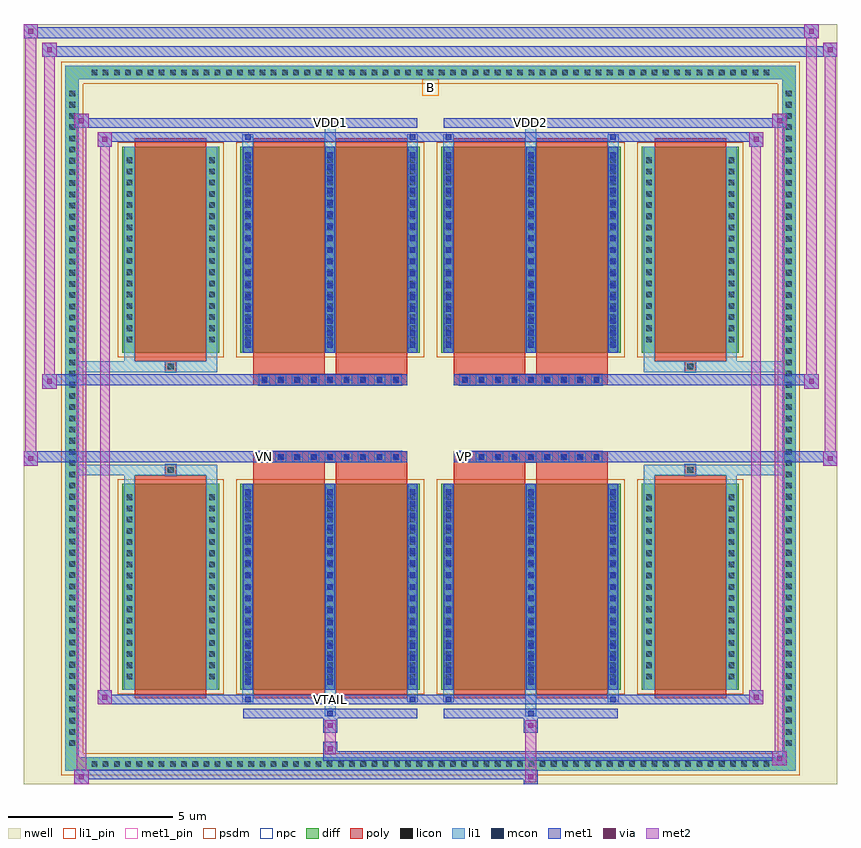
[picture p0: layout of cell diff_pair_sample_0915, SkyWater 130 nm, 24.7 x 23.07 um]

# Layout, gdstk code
import gdstk
lib = gdstk.Library(unit=1e-6, precision=5e-09)
def R(c, l, rs):  # rectangles x0, y0, x1, y1
    for r in rs: c.add(gdstk.rectangle(r[:2], r[2:], *l))
def A(c, l, x, y, w, h, nx, ny, dx, dy):  # array of equal rectangles
    R(c, l, [(x+i*dx, y+j*dy, x+i*dx+w, y+j*dy+h) for i in range(nx) for j in range(ny)])
def P(c, l, *ps):  # polygons
    for p in ps: c.add(gdstk.Polygon(p, *l))
nwell = (64, 20)
diff = (65, 20)
poly = (66, 20)
licon = (66, 44)
li1_pin = (67, 16)
li1 = (67, 20)
mcon = (67, 44)
met1_pin = (68, 16)
met1 = (68, 20)
via = (68, 44)
met2 = (69, 20)
psdm = (94, 20)
npc = (95, 20)

diff_pair_sample_0915 = lib.new_cell('diff_pair_sample_0915')
R(diff_pair_sample_0915, nwell, [(-12.35,-11.1,12.35,11.97), (-9.67,-9.29,-0.01,-0.805), (0.01,-9.29,9.67,-0.805), (-9.67,0.805,-0.01,9.29), (0.01,0.805,9.67,9.29)])
A(diff_pair_sample_0915, diff, -10.405, -10.7, 0.41, 0.41, 61, 2, 0.34, 20.99)
A(diff_pair_sample_0915, diff, -11.08, -10.065, 0.41, 0.41, 1, 59, 0, 0.34)
A(diff_pair_sample_0915, diff, 10.67, -10.065, 0.41, 0.41, 1, 59, 0, 0.34)
R(diff_pair_sample_0915, diff, [(-10.405,-10.7,10.405,-10.29), (-11.08,-10.065,-10.67,10.065), (10.67,-10.065,11.08,10.065), (-9.36,-8.245,-6.41,-1.985), (-5.77,-8.245,-0.32,-1.985), (0.32,-8.245,5.77,-1.985), (6.41,-8.245,9.36,-1.985), (-9.36,1.985,-6.41,8.245), (-5.77,1.985,-0.32,8.245), (0.32,1.985,5.77,8.245), (6.41,1.985,9.36,8.245), (-10.405,10.29,10.405,10.7)])
P(diff_pair_sample_0915, diff, [(11.08,10.7),(-11.08,10.7),(-11.08,-10.29),(-10.67,-10.29),(-10.67,10.29),(10.67,10.29),(10.67,-10.29),(-10.67,-10.29),(-11.08,-10.29),(-11.08,-10.7),(11.08,-10.7)])
A(diff_pair_sample_0915, poly, -5.21, -1.335, 0.33, 0.33, 9, 2, 0.5, 2.34)
A(diff_pair_sample_0915, poly, 0.88, -1.335, 0.33, 0.33, 9, 2, 0.5, 2.34)
R(diff_pair_sample_0915, poly, [(-8.97,-8.495,-6.8,-1.735), (-5.38,-8.495,-3.21,-1.735), (-2.88,-8.495,-0.71,-1.735), (0.71,-8.495,2.88,-1.735), (3.21,-8.495,5.38,-1.735), (6.8,-8.495,8.97,-1.735), (-8.05,-1.735,-7.72,-1.405), (-8.05,-1.735,-7.72,-1.405), (-5.38,-1.735,-3.21,-1.335), (-2.88,-1.735,-0.71,-1.335), (0.71,-1.735,2.88,-1.335), (3.21,-1.735,5.38,-1.335), (7.72,-1.735,8.05,-1.405), (7.72,-1.735,8.05,-1.405), (-5.38,-1.335,-0.71,-1.005), (0.71,-1.335,5.38,-1.005), (-5.38,1.005,-0.71,1.335), (0.71,1.005,5.38,1.335), (-5.38,1.335,-3.21,1.735), (-2.88,1.335,-0.71,1.735), (0.71,1.335,2.88,1.735), (3.21,1.335,5.38,1.735), (-8.05,1.405,-7.72,1.735), (-8.05,1.405,-7.72,1.735), (7.72,1.405,8.05,1.735), (7.72,1.405,8.05,1.735), (-8.97,1.735,-6.8,8.495), (-5.38,1.735,-3.21,8.495), (-2.88,1.735,-0.71,8.495), (0.71,1.735,2.88,8.495), (3.21,1.735,5.38,8.495), (6.8,1.735,8.97,8.495)])
A(diff_pair_sample_0915, licon, -10.285, -10.58, 0.17, 0.17, 61, 2, 0.34, 20.99)
A(diff_pair_sample_0915, licon, -10.96, -9.945, 0.17, 0.17, 1, 59, 0, 0.34)
A(diff_pair_sample_0915, licon, 10.79, -9.945, 0.17, 0.17, 1, 59, 0, 0.34)
A(diff_pair_sample_0915, licon, -9.22, -7.92, 0.17, 0.17, 1, 17, 0, 0.34)
A(diff_pair_sample_0915, licon, -6.72, -7.92, 0.17, 0.17, 1, 17, 0, 0.34)
A(diff_pair_sample_0915, licon, -5.63, -7.92, 0.17, 0.17, 3, 17, 2.5, 0.34)
A(diff_pair_sample_0915, licon, 0.46, -7.92, 0.17, 0.17, 3, 17, 2.5, 0.34)
A(diff_pair_sample_0915, licon, 6.55, -7.92, 0.17, 0.17, 1, 17, 0, 0.34)
A(diff_pair_sample_0915, licon, 9.05, -7.92, 0.17, 0.17, 1, 17, 0, 0.34)
A(diff_pair_sample_0915, licon, -5.13, -1.255, 0.17, 0.17, 9, 2, 0.5, 2.34)
A(diff_pair_sample_0915, licon, 0.96, -1.255, 0.17, 0.17, 9, 2, 0.5, 2.34)
A(diff_pair_sample_0915, licon, -9.22, 2.31, 0.17, 0.17, 1, 17, 0, 0.34)
A(diff_pair_sample_0915, licon, -6.72, 2.31, 0.17, 0.17, 1, 17, 0, 0.34)
A(diff_pair_sample_0915, licon, -5.63, 2.31, 0.17, 0.17, 3, 17, 2.5, 0.34)
A(diff_pair_sample_0915, licon, 0.46, 2.31, 0.17, 0.17, 3, 17, 2.5, 0.34)
A(diff_pair_sample_0915, licon, 6.55, 2.31, 0.17, 0.17, 1, 17, 0, 0.34)
A(diff_pair_sample_0915, licon, 9.05, 2.31, 0.17, 0.17, 1, 17, 0, 0.34)
R(diff_pair_sample_0915, licon, [(-7.97,-1.655,-7.8,-1.485), (7.8,-1.655,7.97,-1.485), (-7.97,1.485,-7.8,1.655), (7.8,1.485,7.97,1.655)])
R(diff_pair_sample_0915, li1_pin, [(-0.25,9.79,0.25,10.29)])
A(diff_pair_sample_0915, li1, -10.365, -10.66, 0.33, 0.33, 61, 2, 0.34, 20.99)
A(diff_pair_sample_0915, li1, -11.04, -10.025, 0.33, 0.33, 1, 59, 0, 0.34)
A(diff_pair_sample_0915, li1, 10.71, -10.025, 0.33, 0.33, 1, 59, 0, 0.34)
A(diff_pair_sample_0915, li1, -5.71, -8.245, 0.33, 6.26, 3, 2, 2.5, 10.23)
A(diff_pair_sample_0915, li1, 0.38, -8.245, 0.33, 6.26, 3, 2, 2.5, 10.23)
A(diff_pair_sample_0915, li1, -5.63, -8.08, 0.17, 0.17, 3, 17, 2.5, 0.36)
A(diff_pair_sample_0915, li1, -5.63, -8.08, 0.17, 5.93, 3, 2, 2.5, 10.23)
A(diff_pair_sample_0915, li1, 0.46, -8.08, 0.17, 0.17, 3, 17, 2.5, 0.36)
A(diff_pair_sample_0915, li1, 0.46, -8.08, 0.17, 5.93, 3, 2, 2.5, 10.23)
A(diff_pair_sample_0915, li1, -9.3, -8, 0.33, 0.33, 1, 17, 0, 0.34)
A(diff_pair_sample_0915, li1, -6.8, -8, 0.33, 0.33, 1, 17, 0, 0.34)
A(diff_pair_sample_0915, li1, -5.71, -8, 0.33, 0.33, 3, 17, 2.5, 0.34)
A(diff_pair_sample_0915, li1, 0.38, -8, 0.33, 0.33, 3, 17, 2.5, 0.34)
A(diff_pair_sample_0915, li1, 6.47, -8, 0.33, 0.33, 1, 17, 0, 0.34)
A(diff_pair_sample_0915, li1, 8.97, -8, 0.33, 0.33, 1, 17, 0, 0.34)
A(diff_pair_sample_0915, li1, -5.21, -1.335, 0.33, 0.33, 9, 2, 0.5, 2.34)
A(diff_pair_sample_0915, li1, 0.88, -1.335, 0.33, 0.33, 9, 2, 0.5, 2.34)
A(diff_pair_sample_0915, li1, -5.63, 2.15, 0.17, 0.17, 3, 17, 2.5, 0.36)
A(diff_pair_sample_0915, li1, 0.46, 2.15, 0.17, 0.17, 3, 17, 2.5, 0.36)
A(diff_pair_sample_0915, li1, -9.3, 2.23, 0.33, 0.33, 1, 17, 0, 0.34)
A(diff_pair_sample_0915, li1, -6.8, 2.23, 0.33, 0.33, 1, 17, 0, 0.34)
A(diff_pair_sample_0915, li1, -5.71, 2.23, 0.33, 0.33, 3, 17, 2.5, 0.34)
A(diff_pair_sample_0915, li1, 0.38, 2.23, 0.33, 0.33, 3, 17, 2.5, 0.34)
A(diff_pair_sample_0915, li1, 6.47, 2.23, 0.33, 0.33, 1, 17, 0, 0.34)
A(diff_pair_sample_0915, li1, 8.97, 2.23, 0.33, 0.33, 1, 17, 0, 0.34)
R(diff_pair_sample_0915, li1, [(-11.08,-10.7,-10.67,-10.29), (-11.08,-10.7,-10.67,-10.29), (-10.67,-10.7,10.67,-10.29), (10.67,-10.7,11.08,-10.29), (10.67,-10.7,11.08,-10.29), (-11.08,-10.29,-10.67,10.29), (10.67,-10.29,11.08,10.29), (-3.21,-9.05,-2.88,-8.245), (-3.13,-9.05,-2.96,-8.88), (2.88,-9.05,3.21,-8.245), (2.96,-9.05,3.13,-8.88), (-5.71,-8.62,-5.38,-8.245), (-5.63,-8.62,-5.46,-8.45), (-0.71,-8.62,-0.38,-8.245), (-0.63,-8.62,-0.46,-8.45), (0.38,-8.62,0.71,-8.245), (0.46,-8.62,0.63,-8.45), (5.38,-8.62,5.71,-8.245), (5.46,-8.62,5.63,-8.45), (-9.3,-8.245,-8.97,-1.985), (-6.8,-8.245,-6.47,-1.985), (6.47,-8.245,6.8,-1.985), (8.97,-8.245,9.3,-1.985), (-9.3,-1.985,-8.97,-1.405), (-6.8,-1.985,-6.47,-1.405), (6.47,-1.985,6.8,-1.405), (8.97,-1.985,9.3,-1.405), (-11.08,-1.735,-8.05,-1.405), (-9.3,-1.735,-8.05,-1.405), (-8.05,-1.735,-7.72,-1.405), (-7.72,-1.735,-6.47,-1.405), (6.47,-1.735,7.72,-1.405), (7.72,-1.735,8.05,-1.405), (7.72,-1.735,11.08,-1.405), (8.05,-1.735,9.3,-1.405), (-11.08,1.405,-8.05,1.735), (-9.3,1.405,-8.05,1.735), (-9.3,1.405,-8.97,1.985), (-8.05,1.405,-7.72,1.735), (-7.72,1.405,-6.47,1.735), (-6.8,1.405,-6.47,1.985), (6.47,1.405,7.72,1.735), (6.47,1.405,6.8,1.985), (7.72,1.405,8.05,1.735), (7.72,1.405,11.08,1.735), (8.05,1.405,9.3,1.735), (8.97,1.405,9.3,1.985), (-9.3,1.985,-8.97,8.245), (-6.8,1.985,-6.47,8.245), (6.47,1.985,6.8,8.245), (8.97,1.985,9.3,8.245), (-5.71,8.245,-5.38,8.62), (-3.21,8.245,-2.88,9.05), (-0.71,8.245,-0.38,8.62), (0.38,8.245,0.71,8.62), (2.88,8.245,3.21,9.05), (5.38,8.245,5.71,8.62), (-5.63,8.45,-5.46,8.62), (-0.63,8.45,-0.46,8.62), (0.46,8.45,0.63,8.62), (5.46,8.45,5.63,8.62), (-3.13,8.88,-2.96,9.05), (2.96,8.88,3.13,9.05), (-11.08,10.29,-10.67,10.7), (-11.08,10.29,-10.67,10.7), (-10.67,10.29,10.67,10.7), (10.67,10.29,11.08,10.7), (10.67,10.29,11.08,10.7)])
A(diff_pair_sample_0915, mcon, -5.63, -8.08, 0.17, 0.17, 3, 17, 2.5, 0.36)
A(diff_pair_sample_0915, mcon, 0.46, -8.08, 0.17, 0.17, 3, 17, 2.5, 0.36)
A(diff_pair_sample_0915, mcon, -5.13, -1.255, 0.17, 0.17, 9, 2, 0.5, 2.34)
A(diff_pair_sample_0915, mcon, 0.96, -1.255, 0.17, 0.17, 9, 2, 0.5, 2.34)
A(diff_pair_sample_0915, mcon, -5.63, 2.15, 0.17, 0.17, 3, 17, 2.5, 0.36)
A(diff_pair_sample_0915, mcon, 0.46, 2.15, 0.17, 0.17, 3, 17, 2.5, 0.36)
R(diff_pair_sample_0915, mcon, [(-3.13,-9.05,-2.96,-8.88), (2.96,-9.05,3.13,-8.88), (-5.63,-8.62,-5.46,-8.45), (-0.63,-8.62,-0.46,-8.45), (0.46,-8.62,0.63,-8.45), (5.46,-8.62,5.63,-8.45), (-5.63,8.45,-5.46,8.62), (-0.63,8.45,-0.46,8.62), (0.46,8.45,0.63,8.62), (5.46,8.45,5.63,8.62), (-3.13,8.88,-2.96,9.05), (2.96,8.88,3.13,9.05)])
R(diff_pair_sample_0915, met1_pin, [(-3.18,-8.66,-2.91,-8.39), (-5.18,-1.295,-4.91,-1.025), (0.91,-1.295,1.18,-1.025), (-3.18,8.84,-2.91,9.11), (2.91,8.84,3.18,9.11)])
A(diff_pair_sample_0915, met1, -5.69, -8.245, 0.29, 6.26, 3, 2, 2.5, 10.23)
A(diff_pair_sample_0915, met1, 0.4, -8.245, 0.29, 6.26, 3, 2, 2.5, 10.23)
A(diff_pair_sample_0915, met1, -5.69, -8.14, 0.29, 0.29, 3, 17, 2.5, 0.36)
A(diff_pair_sample_0915, met1, 0.4, -8.14, 0.29, 0.29, 3, 17, 2.5, 0.36)
A(diff_pair_sample_0915, met1, -5.19, -1.315, 0.29, 0.29, 9, 2, 0.5, 2.34)
A(diff_pair_sample_0915, met1, 0.9, -1.315, 0.29, 0.29, 9, 2, 0.5, 2.34)
A(diff_pair_sample_0915, met1, -5.69, 2.09, 0.29, 0.29, 3, 17, 2.5, 0.36)
A(diff_pair_sample_0915, met1, 0.4, 2.09, 0.29, 0.29, 3, 17, 2.5, 0.36)
R(diff_pair_sample_0915, met1, [(-10.81,-11.1,-10.38,-10.67), (2.83,-11.1,3.26,-10.67), (-10.81,-10.96,3.26,-10.67), (10.38,-10.53,10.81,-10.1), (-3.26,-10.39,10.81,-10.1), (-3.26,-10.25,-2.83,-9.82), (-3.26,-9.54,-2.83,-9.11), (2.83,-9.54,3.26,-9.11), (-5.69,-9.11,-0.4,-8.82), (-3.19,-9.11,-2.9,-8.82), (0.4,-9.11,5.69,-8.82), (2.9,-9.11,3.19,-8.82), (-10.1,-8.68,-9.67,-8.25), (-10.1,-8.68,-5.69,-8.39), (-5.69,-8.68,-5.4,-8.39), (-5.69,-8.68,-0.4,-8.39), (-0.69,-8.68,-0.4,-8.39), (-0.4,-8.68,0.4,-8.39), (0.4,-8.68,0.69,-8.39), (0.4,-8.68,5.69,-8.39), (5.4,-8.68,5.69,-8.39), (5.69,-8.68,10.1,-8.39), (9.67,-8.68,10.1,-8.25), (-12.35,-1.435,-11.92,-1.005), (11.92,-1.435,12.35,-1.005), (-12.35,-1.335,-0.71,-1.005), (-5.38,-1.335,-0.71,-1.005), (0.71,-1.335,5.38,-1.005), (0.71,-1.335,12.35,-1.005), (-11.78,0.905,-11.35,1.335), (11.35,0.905,11.78,1.335), (-11.78,1.005,-5.38,1.335), (-5.38,1.005,-0.71,1.335), (0.71,1.005,5.38,1.335), (5.38,1.005,11.78,1.335), (-10.1,8.25,-9.67,8.68), (9.67,8.25,10.1,8.68), (-10.1,8.39,-5.69,8.68), (-5.69,8.39,-5.4,8.68), (-5.69,8.39,-0.4,8.68), (-0.69,8.39,-0.4,8.68), (-0.4,8.39,0.4,8.68), (0.4,8.39,0.69,8.68), (0.4,8.39,5.69,8.68), (5.4,8.39,5.69,8.68), (5.69,8.39,10.1,8.68), (-10.81,8.82,-10.38,9.25), (-10.81,8.82,-5.69,9.11), (-5.69,8.82,-0.4,9.11), (-3.19,8.82,-2.9,9.11), (0.4,8.82,5.69,9.11), (2.9,8.82,3.19,9.11), (5.69,8.82,10.81,9.11), (10.38,8.82,10.81,9.25), (-11.78,10.97,-11.35,11.4), (-11.78,10.97,-9.67,11.3), (-9.67,10.97,9.67,11.3), (9.67,10.97,12.35,11.3), (11.92,10.97,12.35,11.4), (-12.35,11.54,-11.92,11.97), (-12.35,11.54,-9.67,11.87), (-9.67,11.54,9.67,11.87), (9.67,11.54,11.78,11.87), (11.35,11.54,11.78,11.97)])
R(diff_pair_sample_0915, via, [(-10.67,-10.96,-10.52,-10.81), (2.97,-10.96,3.12,-10.81), (10.52,-10.39,10.67,-10.24), (-3.12,-10.11,-2.97,-9.96), (-3.12,-9.4,-2.97,-9.25), (2.97,-9.4,3.12,-9.25), (-9.96,-8.54,-9.81,-8.39), (9.81,-8.54,9.96,-8.39), (-12.21,-1.295,-12.06,-1.145), (12.06,-1.295,12.21,-1.145), (-11.64,1.045,-11.49,1.195), (11.49,1.045,11.64,1.195), (-9.96,8.39,-9.81,8.54), (9.81,8.39,9.96,8.54), (-10.67,8.96,-10.52,9.11), (10.52,8.96,10.67,9.11), (-11.64,11.11,-11.49,11.26), (12.06,11.11,12.21,11.26), (-12.21,11.68,-12.06,11.83), (11.49,11.68,11.64,11.83)])
R(diff_pair_sample_0915, met2, [(-10.81,-11.1,-10.38,-10.67), (-10.74,-11.1,-10.45,9.25), (-10.45,-11.1,-10.38,-10.67), (-10.76,-11.05,-10.43,-10.72), (2.88,-11.05,3.21,-10.72), (2.88,-10.72,3.21,-9.49), (10.38,-10.53,10.81,-10.1), (10.45,-10.53,10.74,9.25), (10.74,-10.53,10.81,-10.1), (10.43,-10.48,10.76,-10.15), (-3.21,-10.2,-2.88,-9.87), (-3.21,-9.87,-2.88,-9.49), (-3.21,-9.49,-2.88,-9.16), (2.88,-9.49,3.21,-9.16), (-10.1,-8.68,-9.67,-8.25), (-10.03,-8.68,-9.74,8.68), (-9.74,-8.68,-9.67,-8.25), (9.67,-8.68,10.1,-8.25), (9.74,-8.68,10.03,8.68), (10.03,-8.68,10.1,-8.25), (-10.05,-8.63,-9.72,-8.3), (9.72,-8.63,10.05,-8.3), (-12.35,-1.435,-11.92,-1.005), (-12.3,-1.435,-11.97,11.97), (-11.97,-1.435,-11.92,-1.005), (11.92,-1.435,12.35,-1.005), (11.97,-1.435,12.3,11.4), (12.3,-1.435,12.35,-1.005), (-12.3,-1.385,-11.97,-1.055), (11.97,-1.385,12.3,-1.055), (-11.78,0.905,-11.35,1.335), (-11.73,0.905,-11.4,11.4), (-11.4,0.905,-11.35,1.335), (11.35,0.905,11.78,1.335), (11.4,0.905,11.73,11.97), (11.73,0.905,11.78,1.335), (-11.73,0.955,-11.4,1.285), (11.4,0.955,11.73,1.285), (-10.1,8.25,-9.67,8.68), (-9.74,8.25,-9.67,8.68), (9.67,8.25,10.1,8.68), (10.03,8.25,10.1,8.68), (-10.05,8.3,-9.72,8.63), (9.72,8.3,10.05,8.63), (-10.81,8.82,-10.38,9.25), (-10.45,8.82,-10.38,9.25), (10.38,8.82,10.81,9.25), (10.74,8.82,10.81,9.25), (-10.76,8.87,-10.43,9.2), (10.43,8.87,10.76,9.2), (-11.78,10.97,-11.35,11.4), (-11.4,10.97,-11.35,11.4), (11.92,10.97,12.35,11.4), (12.3,10.97,12.35,11.4), (-11.73,11.02,-11.4,11.35), (11.97,11.02,12.3,11.35), (-12.35,11.54,-11.92,11.97), (-11.97,11.54,-11.92,11.97), (11.35,11.54,11.78,11.97), (11.73,11.54,11.78,11.97), (-12.3,11.59,-11.97,11.92), (11.4,11.59,11.73,11.92)])
R(diff_pair_sample_0915, psdm, [(-9.49,-8.375,-6.28,-1.855), (-5.9,-8.375,-0.19,-1.855), (0.19,-8.375,5.9,-1.855), (6.28,-8.375,9.49,-1.855), (-9.49,1.855,-6.28,8.375), (-5.9,1.855,-0.19,8.375), (0.19,1.855,5.9,8.375), (6.28,1.855,9.49,8.375)])
P(diff_pair_sample_0915, psdm, [(11.21,10.83),(-11.21,10.83),(-11.21,-10.16),(-10.54,-10.16),(-10.54,10.16),(10.54,10.16),(10.54,-10.16),(-10.54,-10.16),(-11.21,-10.16),(-11.21,-10.83),(11.21,-10.83)])
A(diff_pair_sample_0915, npc, -5.23, -1.355, 0.37, 0.37, 9, 2, 0.5, 2.34)
A(diff_pair_sample_0915, npc, 0.86, -1.355, 0.37, 0.37, 9, 2, 0.5, 2.34)
R(diff_pair_sample_0915, npc, [(-8.07,-1.755,-7.7,-1.385), (7.7,-1.755,8.07,-1.385), (-5.23,-1.355,-4.36,-0.985), (-5.23,-1.355,-4.36,-0.985), (-4.73,-1.355,-3.86,-0.985), (-4.73,-1.355,-3.86,-0.985), (-4.23,-1.355,-3.36,-0.985), (-4.23,-1.355,-3.36,-0.985), (-3.73,-1.355,-2.86,-0.985), (-3.73,-1.355,-2.86,-0.985), (-3.23,-1.355,-2.36,-0.985), (-3.23,-1.355,-2.36,-0.985), (-2.73,-1.355,-1.86,-0.985), (-2.73,-1.355,-1.86,-0.985), (-2.23,-1.355,-1.36,-0.985), (-2.23,-1.355,-1.36,-0.985), (-1.73,-1.355,-0.86,-0.985), (-1.73,-1.355,-0.86,-0.985), (0.86,-1.355,1.73,-0.985), (0.86,-1.355,1.73,-0.985), (1.36,-1.355,2.23,-0.985), (1.36,-1.355,2.23,-0.985), (1.86,-1.355,2.73,-0.985), (1.86,-1.355,2.73,-0.985), (2.36,-1.355,3.23,-0.985), (2.36,-1.355,3.23,-0.985), (2.86,-1.355,3.73,-0.985), (2.86,-1.355,3.73,-0.985), (3.36,-1.355,4.23,-0.985), (3.36,-1.355,4.23,-0.985), (3.86,-1.355,4.73,-0.985), (3.86,-1.355,4.73,-0.985), (4.36,-1.355,5.23,-0.985), (4.36,-1.355,5.23,-0.985), (-5.23,0.985,-4.36,1.355), (-5.23,0.985,-4.36,1.355), (-4.73,0.985,-3.86,1.355), (-4.73,0.985,-3.86,1.355), (-4.23,0.985,-3.36,1.355), (-4.23,0.985,-3.36,1.355), (-3.73,0.985,-2.86,1.355), (-3.73,0.985,-2.86,1.355), (-3.23,0.985,-2.36,1.355), (-3.23,0.985,-2.36,1.355), (-2.73,0.985,-1.86,1.355), (-2.73,0.985,-1.86,1.355), (-2.23,0.985,-1.36,1.355), (-2.23,0.985,-1.36,1.355), (-1.73,0.985,-0.86,1.355), (-1.73,0.985,-0.86,1.355), (0.86,0.985,1.73,1.355), (0.86,0.985,1.73,1.355), (1.36,0.985,2.23,1.355), (1.36,0.985,2.23,1.355), (1.86,0.985,2.73,1.355), (1.86,0.985,2.73,1.355), (2.36,0.985,3.23,1.355), (2.36,0.985,3.23,1.355), (2.86,0.985,3.73,1.355), (2.86,0.985,3.73,1.355), (3.36,0.985,4.23,1.355), (3.36,0.985,4.23,1.355), (3.86,0.985,4.73,1.355), (3.86,0.985,4.73,1.355), (4.36,0.985,5.23,1.355), (4.36,0.985,5.23,1.355), (-8.07,1.385,-7.7,1.755), (7.7,1.385,8.07,1.755)])
diff_pair_sample_0915.add(gdstk.Label('VTAIL', (-3.045,-8.525), layer=68, texttype=5))
diff_pair_sample_0915.add(gdstk.Label('VN', (-5.045,-1.16), layer=68, texttype=5))
diff_pair_sample_0915.add(gdstk.Label('VP', (1.045,-1.16), layer=68, texttype=5))
diff_pair_sample_0915.add(gdstk.Label('B', (0,10.04), layer=67, texttype=5))
diff_pair_sample_0915.add(gdstk.Label('VDD2', (3.045,8.975), layer=68, texttype=5))
diff_pair_sample_0915.add(gdstk.Label('VDD1', (-3.045,8.975), layer=68, texttype=5))

lib.write_gds('diff_pair_sample_0915.gds')
